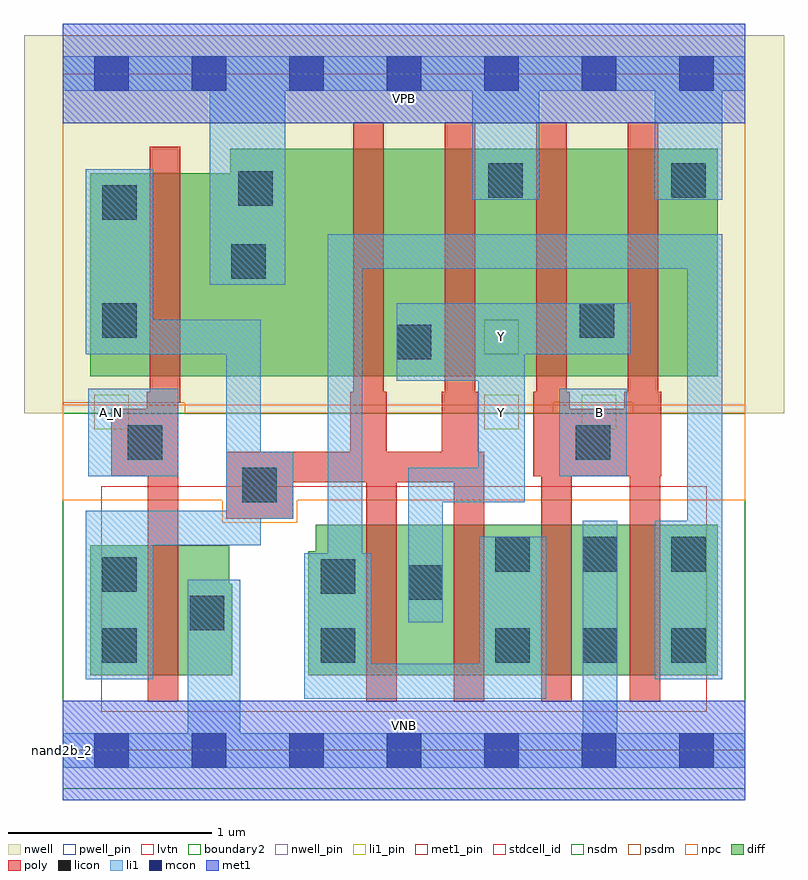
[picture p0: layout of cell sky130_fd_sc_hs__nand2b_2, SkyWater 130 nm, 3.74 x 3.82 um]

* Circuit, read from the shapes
.subckt sky130_fd_sc_hs__nand2b_2 A_N B VGND VNB VPB VPWR Y
XM1 VGND A_N n1 VNB sky130_fd_pr__nfet_01v8_lvt w=0.64 l=0.15
XM2 Y n1 n2 VNB sky130_fd_pr__nfet_01v8_lvt w=0.74 l=0.15 m=2
XM3 VGND B n2 VNB sky130_fd_pr__nfet_01v8_lvt w=0.74 l=0.15 m=2
XM4 VPWR A_N n1 VPB sky130_fd_pr__pfet_01v8 w=1 l=0.15
XM5 Y n1 VPWR VPB sky130_fd_pr__pfet_01v8 w=1.12 l=0.15 m=2
XM6 Y B VPWR VPB sky130_fd_pr__pfet_01v8 w=1.12 l=0.15 m=2
.ends

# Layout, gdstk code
import gdstk
lib = gdstk.Library(unit=1e-6, precision=1e-09)
def R(c, l, rs):  # rectangles x0, y0, x1, y1
    for r in rs: c.add(gdstk.rectangle(r[:2], r[2:], *l))
def A(c, l, x, y, w, h, nx, ny, dx, dy):  # array of equal rectangles
    R(c, l, [(x+i*dx, y+j*dy, x+i*dx+w, y+j*dy+h) for i in range(nx) for j in range(ny)])
def P(c, l, *ps):  # polygons
    for p in ps: c.add(gdstk.Polygon(p, *l))
nwell_pin = (64, 16)
nwell = (64, 20)
diff = (65, 20)
poly = (66, 20)
licon = (66, 44)
li1_pin = (67, 16)
li1 = (67, 20)
mcon = (67, 44)
met1_pin = (68, 16)
met1 = (68, 20)
stdcell_id = (81, 4)
nsdm = (93, 44)
psdm = (94, 20)
npc = (95, 20)
pwell_pin = (122, 16)
lvtn = (125, 44)
boundary2 = (236, 0)

sky130_fd_sc_hs__nand2b_ = lib.new_cell('sky130_fd_sc_hs__nand2b_2')
R(sky130_fd_sc_hs__nand2b_, nwell_pin, [(0,3.085,3.36,3.33)])
R(sky130_fd_sc_hs__nand2b_, nwell, [(-0.19,1.66,3.55,3.52)])
P(sky130_fd_sc_hs__nand2b_, diff, [(0.835,0.82),(0.82,0.82),(0.82,1.01),(0.135,1.01),(0.135,0.37),(0.835,0.37)],
  [(3.225,2.96),(0.825,2.96),(0.825,2.84),(0.135,2.84),(0.135,1.84),(3.225,1.84)],
  [(3.225,1.11),(1.245,1.11),(1.245,0.98),(1.21,0.98),(1.21,0.37),(3.225,0.37)])
P(sky130_fd_sc_hs__nand2b_, poly, [(2.945,1.765),(2.93,1.765),(2.93,3.09),(2.78,3.09),(2.78,1.765),(2.765,1.765),(2.765,1.68),(2.495,1.68),(2.495,1.765),(2.48,1.765),(2.48,3.09),(2.33,3.09),(2.33,1.765),(2.315,1.765),(2.315,1.35),(2.355,1.35),(2.355,0.24),(2.505,0.24),(2.505,1.35),(2.79,1.35),(2.79,0.24),(2.94,0.24),(2.94,1.35),(2.945,1.35)],
  [(2.075,1.47),(2.045,1.47),(2.045,1.765),(2.03,1.765),(2.03,3.09),(1.88,3.09),(1.88,1.765),(1.865,1.765),(1.865,1.47),(1.595,1.47),(1.595,1.765),(1.58,1.765),(1.58,3.09),(1.43,3.09),(1.43,1.765),(1.415,1.765),(1.415,1.47),(0.805,1.47),(0.805,1.14),(1.135,1.14),(1.135,1.32),(1.495,1.32),(1.495,0.24),(1.645,0.24),(1.645,1.32),(1.925,1.32),(1.925,0.24),(2.075,0.24)],
  [(0.58,2.97),(0.43,2.97),(0.43,1.765),(0.415,1.765),(0.415,1.68),(0.24,1.68),(0.24,1.35),(0.42,1.35),(0.42,0.24),(0.57,0.24),(0.57,1.71),(0.58,1.71)])
R(sky130_fd_sc_hs__nand2b_, licon, [(0.195,0.43,0.365,0.6), (1.27,0.43,1.44,0.6), (2.13,0.43,2.3,0.6), (2.56,0.43,2.73,0.6), (2.995,0.43,3.165,0.6), (0.625,0.59,0.795,0.76), (1.7,0.74,1.87,0.91), (1.27,0.77,1.44,0.94), (0.195,0.78,0.365,0.95), (2.13,0.88,2.3,1.05), (2.56,0.88,2.73,1.05), (2.995,0.88,3.165,1.05), (0.885,1.22,1.055,1.39), (0.32,1.43,0.49,1.6), (2.525,1.43,2.695,1.6), (1.645,1.925,1.815,2.095), (0.195,2.03,0.365,2.2), (2.545,2.03,2.715,2.2), (0.83,2.32,1,2.49), (0.195,2.61,0.365,2.78), (0.865,2.68,1.035,2.85), (2.095,2.72,2.265,2.89), (2.995,2.72,3.165,2.89)])
R(sky130_fd_sc_hs__nand2b_, li1_pin, [(0.155,1.58,0.325,1.75), (2.075,1.58,2.245,1.75), (2.555,1.58,2.725,1.75), (2.075,1.95,2.245,2.12)])
R(sky130_fd_sc_hs__nand2b_, li1, [(0.125,1.35,0.57,1.78), (2.445,1.35,2.775,1.78)])
P(sky130_fd_sc_hs__nand2b_, li1, [(0.115,1.95),(0.115,2.86),(0.445,2.86),(0.445,2.12),(0.975,2.12),(0.975,1.47),(1.135,1.47),(1.135,1.14),(0.975,1.14),(0.975,1.01),(0.445,1.01),(0.445,0.35),(0.115,0.35),(0.115,1.18),(0.805,1.18),(0.805,1.95)],
  [(2.915,2.71),(2.915,3.245),(2.345,3.245),(2.345,2.71),(2.015,2.71),(2.015,3.245),(1.095,3.245),(1.095,2.29),(0.725,2.29),(0.725,3.245),(0,3.245),(0,3.415),(3.36,3.415),(3.36,3.245),(3.245,3.245),(3.245,2.71)],
  [(2.56,0.085),(2.56,1.13),(2.73,1.13),(2.73,0.085),(3.36,0.085),(3.36,-0.085),(0,-0.085),(0,0.085),(0.615,0.085),(0.615,0.84),(0.875,0.84),(0.875,0.085)],
  [(2.795,2.2),(2.795,1.95),(2.275,1.95),(2.275,1.22),(1.87,1.22),(1.87,0.63),(1.7,0.63),(1.7,1.39),(2.045,1.39),(2.045,1.82),(1.645,1.82),(1.645,2.2)],
  [(1.19,0.255),(1.19,0.97),(1.305,0.97),(1.305,2.54),(3.245,2.54),(3.245,0.35),(2.915,0.35),(2.915,1.13),(3.075,1.13),(3.075,2.37),(1.475,2.37),(1.475,0.97),(1.52,0.97),(1.52,0.425),(2.05,0.425),(2.05,1.05),(2.38,1.05),(2.38,0.255)])
A(sky130_fd_sc_hs__nand2b_, mcon, 0.155, -0.085, 0.17, 0.17, 7, 2, 0.48, 3.33)
R(sky130_fd_sc_hs__nand2b_, met1_pin, [(0,0,3.36,0.245), (0,3.085,3.36,3.33)])
R(sky130_fd_sc_hs__nand2b_, met1, [(0,-0.245,3.36,0.245), (0,3.085,3.36,3.575)])
R(sky130_fd_sc_hs__nand2b_, stdcell_id, [(0,0,3.36,3.33)])
R(sky130_fd_sc_hs__nand2b_, nsdm, [(0,-0.19,3.36,1.66)])
P(sky130_fd_sc_hs__nand2b_, psdm, [(3.36,3.52),(0,3.52),(0,1.71),(0.6,1.71),(0.6,1.66),(2.415,1.66),(2.415,1.71),(2.805,1.71),(2.805,1.66),(3.36,1.66)])
P(sky130_fd_sc_hs__nand2b_, npc, [(3.36,1.7),(0,1.7),(0,1.23),(0.785,1.23),(0.785,1.12),(1.155,1.12),(1.155,1.23),(3.36,1.23)])
R(sky130_fd_sc_hs__nand2b_, pwell_pin, [(0,0,3.36,0.245)])
R(sky130_fd_sc_hs__nand2b_, lvtn, [(0.19,0.19,3.17,1.3)])
R(sky130_fd_sc_hs__nand2b_, boundary2, [(0,0,3.36,3.33)])
sky130_fd_sc_hs__nand2b_.add(gdstk.Label('nand2b_2', (0,0), layer=83, texttype=44))
sky130_fd_sc_hs__nand2b_.add(gdstk.Label('VNB', (1.68,0.123), layer=64, texttype=59))
sky130_fd_sc_hs__nand2b_.add(gdstk.Label('VPB', (1.68,3.208), layer=64, texttype=5))
sky130_fd_sc_hs__nand2b_.add(gdstk.Label('VPWR', (1.68,3.208), layer=68, texttype=5))
sky130_fd_sc_hs__nand2b_.add(gdstk.Label('VGND', (1.68,0.123), layer=68, texttype=5))
sky130_fd_sc_hs__nand2b_.add(gdstk.Label('B', (2.64,1.665), layer=67, texttype=5))
sky130_fd_sc_hs__nand2b_.add(gdstk.Label('Y', (2.16,1.665), layer=67, texttype=5))
sky130_fd_sc_hs__nand2b_.add(gdstk.Label('Y', (2.16,2.035), layer=67, texttype=5))
sky130_fd_sc_hs__nand2b_.add(gdstk.Label('A_N', (0.24,1.665), layer=67, texttype=5))

lib.write_gds('sky130_fd_sc_hs__nand2b_2.gds')
